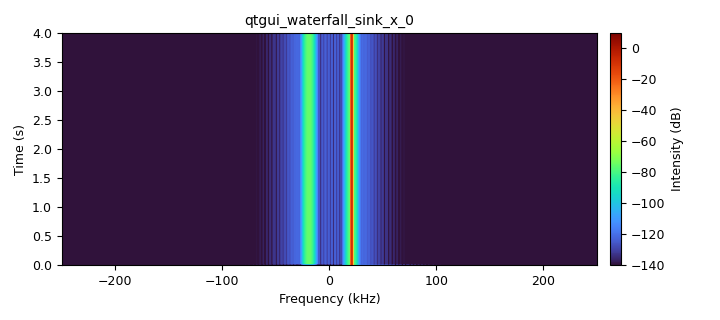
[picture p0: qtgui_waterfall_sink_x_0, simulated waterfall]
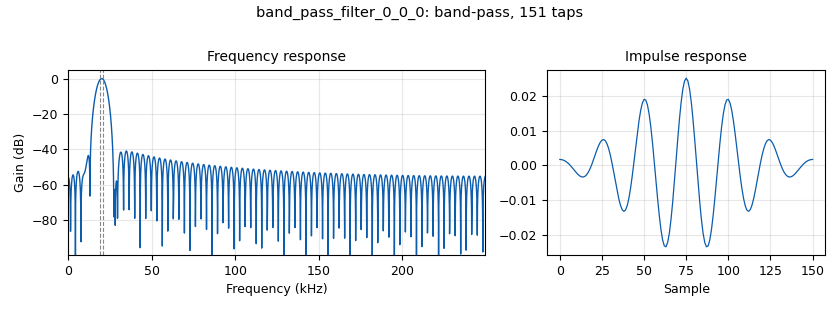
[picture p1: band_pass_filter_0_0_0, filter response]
options:
  parameters:
    author: sennels
    generate_options: qt_gui
    id: Transfrans
    output_language: python
    title: Not titled yet
  states: {}

blocks:
- name: Base_samp_rate
  id: variable
  parameters:
    value: Symbol_rate*samples_pr_sym
  states: {}
- name: PI
  id: variable
  parameters:
    value: '3.14159265358979323'
  states: {}
- name: Symbol_rate
  id: variable
  parameters:
    value: '100'
  states: {}
- name: samp_rate
  id: variable
  parameters:
    value: '500000'
  states: {}
- name: samples_pr_sym
  id: variable
  parameters:
    value: '5'
  states: {}
- name: sep_freq
  id: variable
  parameters:
    value: '20000'
  states: {}
- name: band_pass_filter_0_0_0
  id: band_pass_filter
  parameters:
    decim: '1'
    gain: '1'
    high_cutoff_freq: sep_freq+1000
    low_cutoff_freq: sep_freq-1000
    samp_rate: samp_rate
    type: fir_filter_ccf
    width: '8000'
    win: window.WIN_HAMMING
  states: {}
- name: blocks_multiply_const_vxx_0_0
  id: blocks_multiply_const_vxx
  parameters:
    const: sep_freq
    type: float
  states: {}
- name: blocks_repeat_0
  id: blocks_repeat
  parameters:
    interp: int((samp_rate)/(Symbol_rate))
    type: float
  states: {}
- name: blocks_vco_c_0_0
  id: blocks_vco_c
  parameters:
    amplitude: '1'
    samp_rate: samp_rate
    sensitivity: 2*PI
  states: {}
- name: blocks_vector_source_x_0
  id: blocks_vector_source_x
  parameters:
    repeat: 'True'
    type: float
    vector: (1, -1, 1, -1, 1, -1, 1,-1)
  states: {}
- name: qtgui_waterfall_sink_x_0
  id: qtgui_waterfall_sink_x
  parameters:
    bw: samp_rate
    fc: '0'
    fftsize: '1024'
    type: complex
  states: {}
- name: uhd_usrp_sink_0
  id: uhd_usrp_sink
  parameters:
    ant0: '"TX/RX"'
    center_freq0: '2490000000'
    gain0: '1'
    gain_type0: normalized
    samp_rate: samp_rate
    stream_chans: '[0]'
    sync: pc_clock
    type: fc32
  states: {}

connections:
- [band_pass_filter_0_0_0, '0', qtgui_waterfall_sink_x_0, '0']
- [band_pass_filter_0_0_0, '0', uhd_usrp_sink_0, '0']
- [blocks_multiply_const_vxx_0_0, '0', blocks_vco_c_0_0, '0']
- [blocks_repeat_0, '0', blocks_multiply_const_vxx_0_0, '0']
- [blocks_vco_c_0_0, '0', band_pass_filter_0_0_0, '0']
- [blocks_vector_source_x_0, '0', blocks_repeat_0, '0']

metadata:
  file_format: 1
  grc_version: 3.10.9.2
